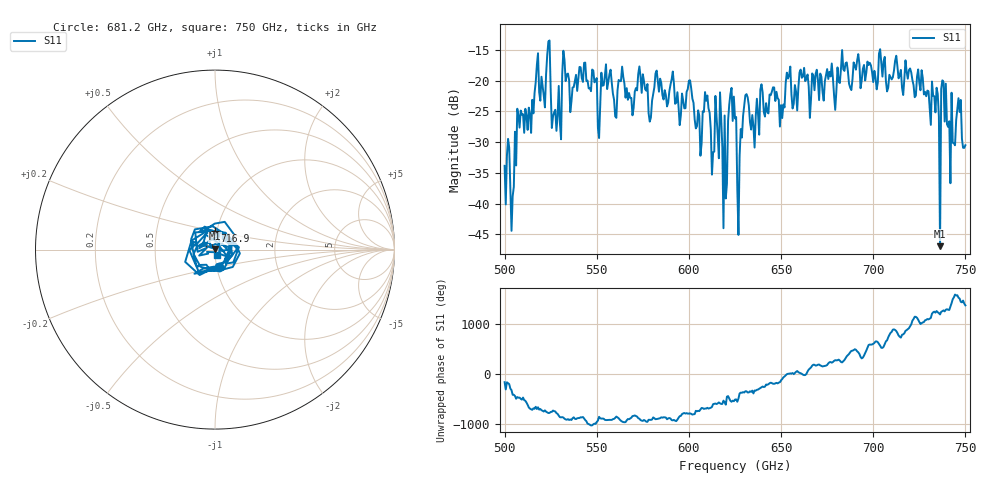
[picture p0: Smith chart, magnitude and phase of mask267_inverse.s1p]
!Created with skrf (http://scikit-rf.org).
# GHz S MA R 50.0
!freq magS11 angS11
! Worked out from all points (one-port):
!   401 points, 500 GHz to 750 GHz, reference 50 ohm
!   lowest |S11| = -46.9 dB at 736.2 GHz (marker M1), VSWR 1.01, Z = 49.9 + j0.43 ohm
!   |S11| at or under -10 dB: start of sweep to end of sweep
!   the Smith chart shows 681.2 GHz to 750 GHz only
!   S11 on the Smith chart (normalised r, x): 681.2 GHz: 1.03, -0.20; 716.9 GHz: 0.98, +0.20; 750 GHz: 1.02, -0.06
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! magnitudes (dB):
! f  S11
! 500 GHz  -33.8
! 503.8 GHz  -44.4
! 508.1 GHz  -27.6
! 523.8 GHz  -13.6
! 526.9 GHz  -25.2
! 531.2 GHz  -19.0
! 562.5 GHz  -20.1
! 593.8 GHz  -21.9
! 600 GHz  -20.0
! 605.6 GHz  -25.7
! 610 GHz  -22.4
! 616.2 GHz  -32.6
! 619.4 GHz  -25.7
! 622.5 GHz  -22.2
! 625 GHz  -26.2
! 627.5 GHz  -32.3
! 631.2 GHz  -22.2
! 634.4 GHz  -25.6
! 656.2 GHz  -24.5
! 681.2 GHz  -20.2
! 687.5 GHz  -21.2
! 716.9 GHz  -19.8
! 718.8 GHz  -19.7
! 736.2 GHz  -46.9
! 738.1 GHz  -20.2
! 743.1 GHz  -30.1
! 746.2 GHz  -22.9
! 750 GHz  -30.5
